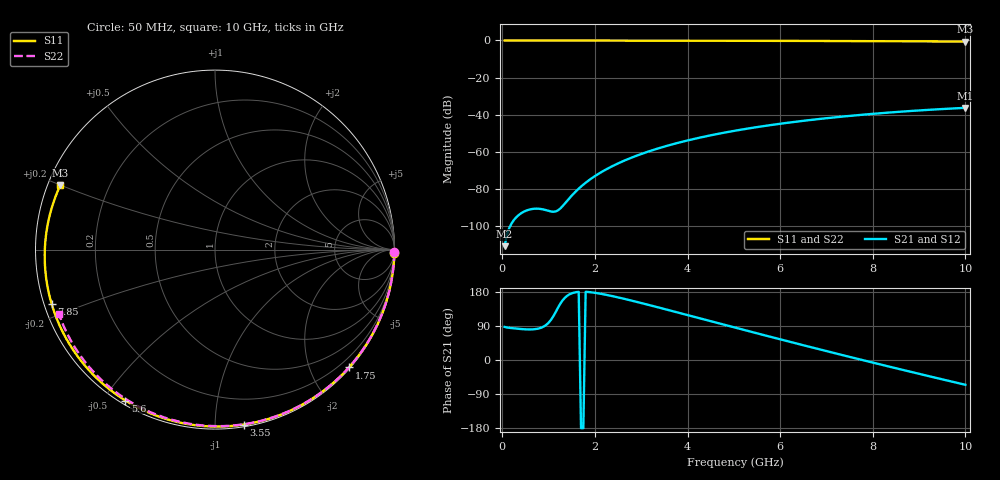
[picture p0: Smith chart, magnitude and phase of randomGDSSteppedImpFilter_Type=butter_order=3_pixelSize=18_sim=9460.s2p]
! freq	dB(S11)	phase(S11)	dB(S12)	phase(S12)
!  dB(S21)	phase(S21)	dB(S22)	phase(S22)
!S-par simulation data
#  GHz  S  DB  R 50
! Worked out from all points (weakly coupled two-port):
!   200 points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, 50 MHz to 10 GHz, reference 50 ohm
!   highest |S21| = -36.25 dB at 10 GHz (marker M1); lowest = -110.7 dB at 50 MHz (marker M2)
!   lowest |S11| = -0.6 dB at 10 GHz (marker M3), VSWR 29.11, Z = 1.79 + j9.97 ohm
!   |S11| at or under -10 dB: nowhere
!   |S22| runs from -0.5 to 0.0 dB; largest |S21 - S12| = 0
!   S11 on the Smith chart (normalised r, x): 50 MHz: 1, -98; 1.75 GHz: 0.02, -2.65; 3.55 GHz: 0.01, -1.18; 5.6 GHz: 0.01, -0.57; 7.85 GHz: 0.02, -0.16; 10 GHz: 0.04, +0.20
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0.05  -0.00 -1.2  -110.65 87.3  -110.65 87.3  -0.00 -0.9
0.45  -0.02 -10.8  -92.30 81.3  -92.30 81.3  -0.01 -8.1
0.8  -0.02 -19.2  -90.55 83.6  -90.55 83.6  -0.02 -14.4
1.2  -0.04 -28.6  -91.43 137.3  -91.43 137.3  -0.03 -21.5
1.6  -0.05 -37.9  -80.88 179.1  -80.88 179.1  -0.04 -28.6
1.65  -0.05 -39.1  -79.70 179.8  -79.70 179.8  -0.04 -29.4
1.75  -0.05 -41.3  -77.53 -179.8  -77.53 -179.8  -0.04 -31.2
2.05  -0.06 -48.2  -72.16 176.4  -72.16 176.4  -0.05 -36.4
2.45  -0.07 -57.1  -66.72 166.6  -66.72 166.6  -0.06 -43.3
2.9  -0.09 -66.9  -61.99 153.5  -61.99 153.5  -0.07 -50.9
3.4  -0.10 -77.5  -57.81 137.8  -57.81 137.8  -0.08 -59.2
3.55  -0.11 -80.6  -56.72 133.0  -56.72 133.0  -0.08 -61.7
4.3  -0.13 -95.8  -52.08 108.9  -52.08 108.9  -0.10 -73.8
5.05  -0.17 -110.3  -48.44 84.8  -48.44 84.8  -0.13 -85.5
5.6  -0.20 -120.7  -46.22 67.2  -46.22 67.2  -0.16 -93.8
6.15  -0.23 -130.8  -44.31 49.9  -44.31 49.9  -0.18 -102.0
6.7  -0.27 -140.8  -42.64 32.8  -42.64 32.8  -0.22 -110.1
7.3  -0.31 -151.7  -41.06 14.3  -41.06 14.3  -0.26 -118.8
7.85  -0.36 -161.7  -39.79 -2.4  -39.79 -2.4  -0.30 -126.7
8.35  -0.41 -170.8  -38.78 -17.3  -38.78 -17.3  -0.34 -133.8
9.2  -0.50 173.2  -37.33 -42.3  -37.33 -42.3  -0.43 -146.0
10  -0.60 157.4  -36.25 -65.4  -36.25 -65.4  -0.53 -157.7
